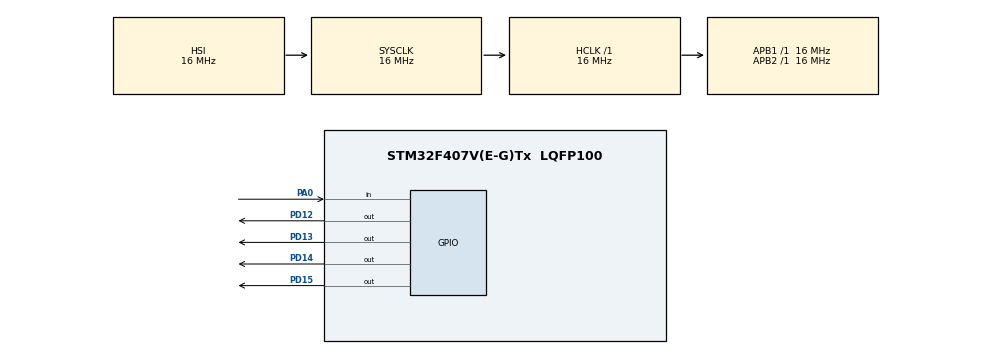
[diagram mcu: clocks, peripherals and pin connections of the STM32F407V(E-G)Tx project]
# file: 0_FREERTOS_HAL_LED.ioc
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Mcu.Family=STM32F4
Mcu.Name=STM32F407V(E-G)Tx
Mcu.Package=LQFP100
NVIC.PriorityGroup=NVIC_PRIORITYGROUP_0
PA0-WKUP.Signal=GPIO_Input
PD12.Signal=GPIO_Output
PD13.Signal=GPIO_Output
PD14.Signal=GPIO_Output
PD15.Signal=GPIO_Output
ProjectManager.HeapSize=0x200
ProjectManager.StackSize=0x400
ProjectManager.TargetToolchain=STM32CubeIDE
RCC.48MHZClocksFreq_Value=18285714.285714287
RCC.AHBFreq_Value=16000000
RCC.APB1Freq_Value=16000000
RCC.APB1TimFreq_Value=16000000
RCC.APB2Freq_Value=16000000
RCC.APB2TimFreq_Value=16000000
RCC.CortexFreq_Value=16000000
RCC.HCLKFreq_Value=16000000
RCC.HSE_VALUE=8000000
RCC.HSI_VALUE=16000000
RCC.PLLM=8
RCC.PLLN=64
RCC.PLLQ=7
RCC.SYSCLKFreq_VALUE=16000000
RCC.VCOOutputFreq_Value=128000000
board=STM32F407G-DISC1

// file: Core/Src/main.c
/* USER CODE BEGIN Header */
/**
  ******************************************************************************
  * @file           : main.c
  * @brief          : Main program body
  ******************************************************************************
  * @attention
  *
  * Copyright (c) 2022 STMicroelectronics.
  * All rights reserved.
  *
  * This software is licensed under terms that can be found in the LICENSE file
  * in the root directory of this software component.
  * If no LICENSE file comes with this software, it is provided AS-IS.
  *
  ******************************************************************************
  */
/* USER CODE END Header */
#include "main.h"

/* USER CODE BEGIN Includes */
#include "FreeRTOS.h"
#include "task.h"
/* USER CODE END Includes */

/* USER CODE BEGIN PV */

TaskHandle_t myButtonTaskHandle;
TaskHandle_t myLedTaskHandle;

int8_t ButtonCount=0;
/* USER CODE END PV */

void SystemClock_Config(void);
static void MX_GPIO_Init(void);
/* USER CODE BEGIN PFP */
void readButtonStateTask(void *params);
void ledFlashTask(void *params);
/* USER CODE END PFP */

int main(void)
{

  /* MCU Configuration--------------------------------------------------------*/

  /* Reset of all peripherals, Initializes the Flash interface and the Systick. */
  HAL_Init();

  /* Configure the system clock */
  SystemClock_Config();

  /* Initialize all configured peripherals */
  MX_GPIO_Init();
  /* USER CODE BEGIN 2 */
  xTaskCreate(readButtonStateTask, "Buton", configMINIMAL_STACK_SIZE, NULL, 3, &myButtonTaskHandle);
  xTaskCreate(ledFlashTask, "Led"  , configMINIMAL_STACK_SIZE, NULL, 3, &myLedTaskHandle);
  vTaskStartScheduler();
  /* USER CODE END 2 */

  /* Infinite loop */
  while (1)
  {

  }
}

void SystemClock_Config(void)
{
  RCC_OscInitTypeDef RCC_OscInitStruct = {0};
  RCC_ClkInitTypeDef RCC_ClkInitStruct = {0};

  /** Configure the main internal regulator output voltage
  */
  __HAL_RCC_PWR_CLK_ENABLE();
  __HAL_PWR_VOLTAGESCALING_CONFIG(PWR_REGULATOR_VOLTAGE_SCALE1);

  /** Initializes the RCC Oscillators according to the specified parameters
  * in the RCC_OscInitTypeDef structure.
  */
  RCC_OscInitStruct.OscillatorType = RCC_OSCILLATORTYPE_HSI;
  RCC_OscInitStruct.HSIState = RCC_HSI_ON;
  RCC_OscInitStruct.HSICalibrationValue = RCC_HSICALIBRATION_DEFAULT;
  RCC_OscInitStruct.PLL.PLLState = RCC_PLL_NONE;
  if (HAL_RCC_OscConfig(&RCC_OscInitStruct) != HAL_OK)
  {
    Error_Handler();
  }

  /** Initializes the CPU, AHB and APB buses clocks
  */
  RCC_ClkInitStruct.ClockType = RCC_CLOCKTYPE_HCLK|RCC_CLOCKTYPE_SYSCLK
                              |RCC_CLOCKTYPE_PCLK1|RCC_CLOCKTYPE_PCLK2;
  RCC_ClkInitStruct.SYSCLKSource = RCC_SYSCLKSOURCE_HSI;
  RCC_ClkInitStruct.AHBCLKDivider = RCC_SYSCLK_DIV1;
  RCC_ClkInitStruct.APB1CLKDivider = RCC_HCLK_DIV1;
  RCC_ClkInitStruct.APB2CLKDivider = RCC_HCLK_DIV1;

  if (HAL_RCC_ClockConfig(&RCC_ClkInitStruct, FLASH_LATENCY_0) != HAL_OK)
  {
    Error_Handler();
  }
}

static void MX_GPIO_Init(void)
{
  GPIO_InitTypeDef GPIO_InitStruct = {0};

  /* GPIO Ports Clock Enable */
  __HAL_RCC_GPIOA_CLK_ENABLE();
  __HAL_RCC_GPIOD_CLK_ENABLE();

  /*Configure GPIO pin Output Level */
  HAL_GPIO_WritePin(GPIOD, GPIO_PIN_12|GPIO_PIN_13|GPIO_PIN_14|GPIO_PIN_15, GPIO_PIN_RESET);

  /*Configure GPIO pin : PA0 */
  GPIO_InitStruct.Pin = GPIO_PIN_0;
  GPIO_InitStruct.Mode = GPIO_MODE_INPUT;
  GPIO_InitStruct.Pull = GPIO_NOPULL;
  HAL_GPIO_Init(GPIOA, &GPIO_InitStruct);

  /*Configure GPIO pins : PD12 PD13 PD14 PD15 */
  GPIO_InitStruct.Pin = GPIO_PIN_12|GPIO_PIN_13|GPIO_PIN_14|GPIO_PIN_15;
  GPIO_InitStruct.Mode = GPIO_MODE_OUTPUT_PP;
  GPIO_InitStruct.Pull = GPIO_NOPULL;
  GPIO_InitStruct.Speed = GPIO_SPEED_FREQ_LOW;
  HAL_GPIO_Init(GPIOD, &GPIO_InitStruct);

}

/* USER CODE BEGIN 4 */
void readButtonStateTask(void *params)
{
	  while (1)
	  {
		  if(HAL_GPIO_ReadPin(GPIOA, GPIO_PIN_0)==GPIO_PIN_SET)
		  {
			while(HAL_GPIO_ReadPin(GPIOA, GPIO_PIN_0)==GPIO_PIN_SET)
			ButtonCount +=1;
			if(ButtonCount==5)
			{
				ButtonCount=0;
			}
		  }

	  }
}
void ledFlashTask(void *params)
{
	  while (1)
	  {
		  if(ButtonCount==0)
		  {
			  HAL_GPIO_WritePin(GPIOD, GPIO_PIN_12|GPIO_PIN_13|GPIO_PIN_14|GPIO_PIN_15,GPIO_PIN_RESET);
		  }
		  else if (ButtonCount==1)
		  {
			  HAL_GPIO_TogglePin(GPIOD, GPIO_PIN_12|GPIO_PIN_13|GPIO_PIN_14|GPIO_PIN_15);
			  vTaskDelay(1000);
		  }
		  else if (ButtonCount==2)
		  {
			  HAL_GPIO_TogglePin(GPIOD, GPIO_PIN_12|GPIO_PIN_13|GPIO_PIN_14|GPIO_PIN_15);
			  vTaskDelay(750);
		  }
		  else if (ButtonCount==3)
		  {
			  HAL_GPIO_TogglePin(GPIOD, GPIO_PIN_12|GPIO_PIN_13|GPIO_PIN_14|GPIO_PIN_15);
			  vTaskDelay(500);
		  }
		  else if (ButtonCount==4)
		  {
			  HAL_GPIO_TogglePin(GPIOD, GPIO_PIN_12|GPIO_PIN_13|GPIO_PIN_14|GPIO_PIN_15);
			  vTaskDelay(250);
		  }
	  }
}
/* USER CODE END 4 */

void Error_Handler(void)
{
  __disable_irq();
  while (1)
  {
  }
}
